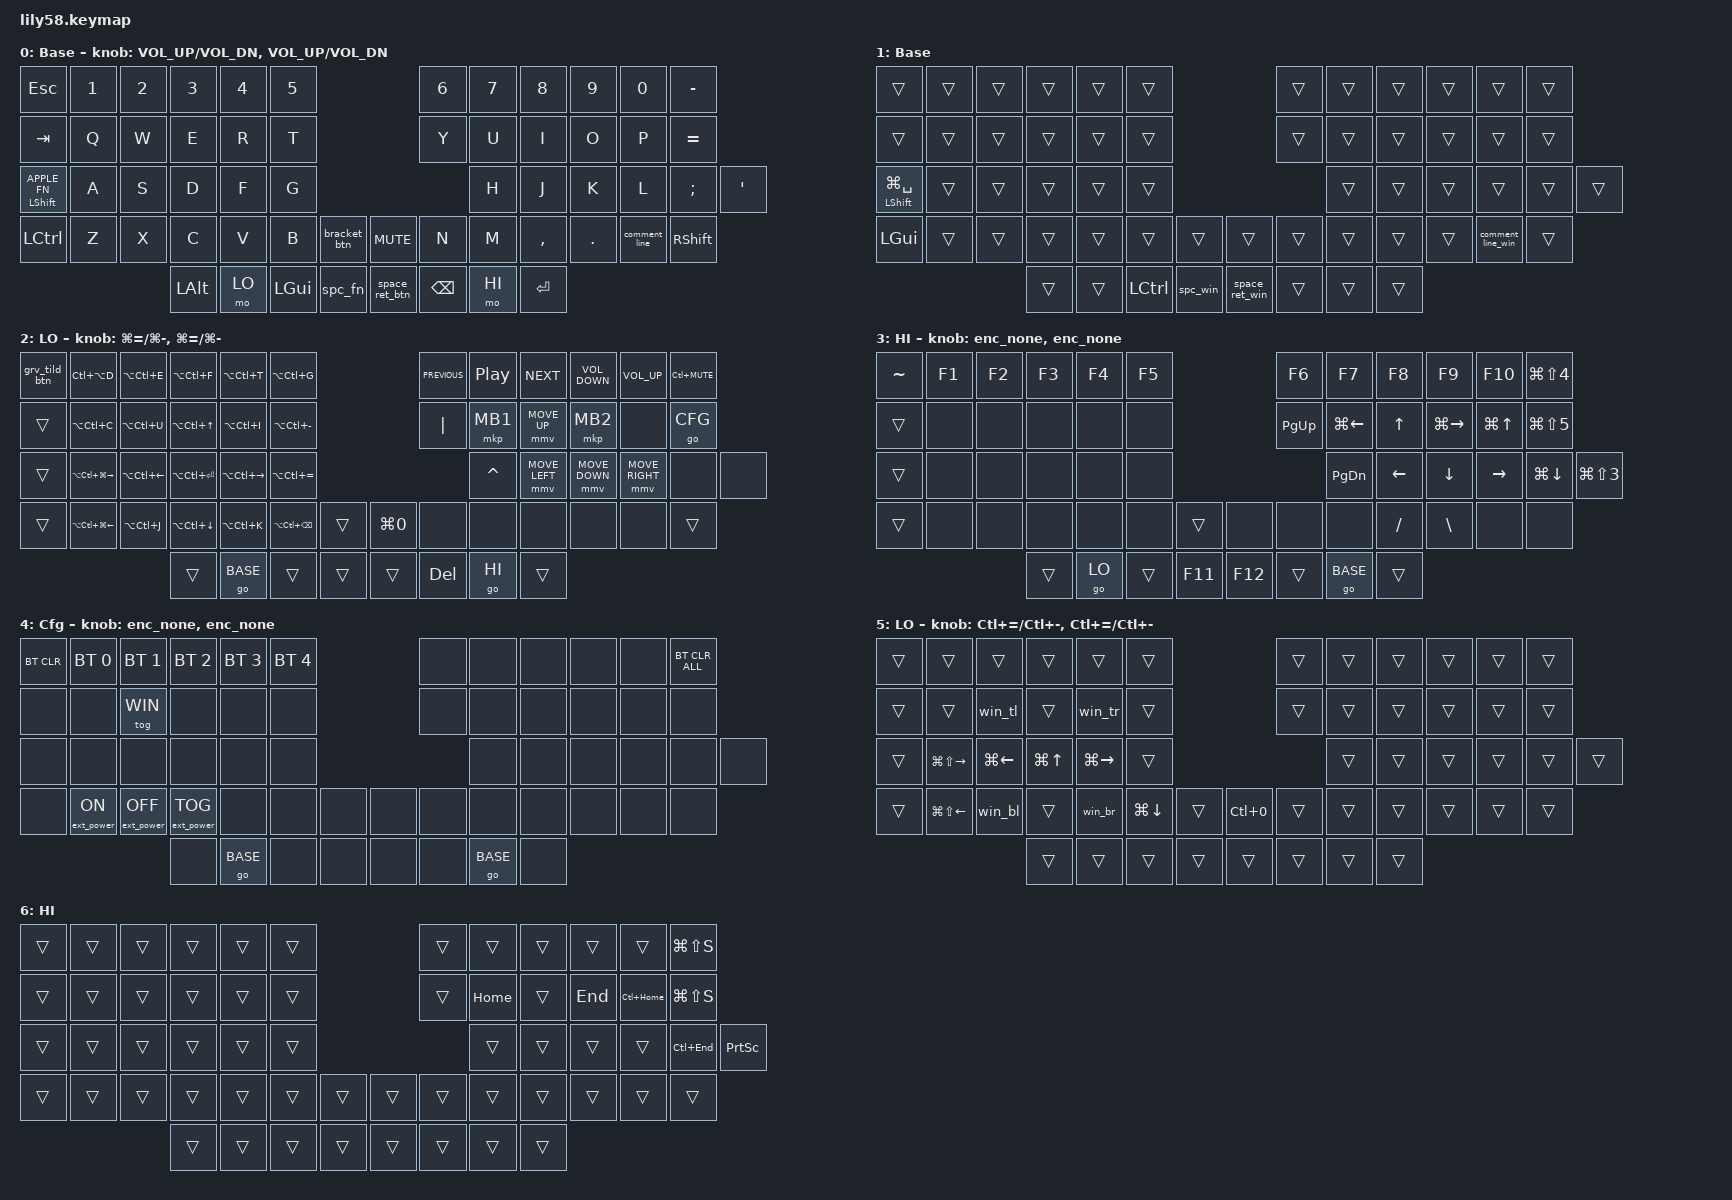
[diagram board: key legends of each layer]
/*
 * Copyright (c) 2022 The ZMK Contributors
 *
 * SPDX-License-Identifier: MIT
 */

#define ZMK_BEHAVIORS_OMIT_KT

#include <behaviors.dtsi>
#include <dt-bindings/zmk/bt.h>
#include <dt-bindings/zmk/ext_power.h>
#include <dt-bindings/zmk/keys.h>
#include <dt-bindings/zmk/pointing.h>

/*
 * Layers. WIN sits right above BASE so LO/HI/CFG fall through it; WLO/WHI are
 * conditional layers (active when WIN and LO/HI are both on) holding the
 * Windows replacements for macOS shortcuts. Keep WIN in sync with
 * CONFIG_LILLY_STATUS_SCREEN_WIN_LAYER (lily58.conf) for the screen icon.
 */
#define BASE 0
#define WIN  1
#define LO   2
#define HI   3
#define CFG  4
#define WLO  5
#define WHI  6

/ {
    behaviors {
        bracket_btn: bracket_btn {
            compatible = "zmk,behavior-tap-dance";
            #binding-cells = <0>;
            bindings = <&kp LEFT_BRACKET>, <&kp RIGHT_BRACKET>;
        };

        space_ret_btn: space_ret_btn {
            compatible = "zmk,behavior-tap-dance";
            #binding-cells = <0>;
            bindings = <&spc_fn>, <&kp RET>;
        };

        grv_tild_btn: grv_tild_btn {
            compatible = "zmk,behavior-tap-dance";
            #binding-cells = <0>;
            bindings = <&kp GRAVE>, <&kp TILDE>;
        };

        comment_line: comment_line {
            compatible = "zmk,behavior-tap-dance";
            #binding-cells = <0>;
            bindings = <&kp SLASH>, <&kp LG(SLASH)>;
        };

        // Space; Ctrl+Space sends native Apple Fn/Globe instead (switch input source).
        // Ctrl is masked so macOS sees a clean Fn press.
        spc_fn: spc_fn {
            compatible = "zmk,behavior-mod-morph";
            #binding-cells = <0>;
            bindings = <&kp SPACE>, <&kp APPLE_FN>;
            mods = <(MOD_LCTL|MOD_RCTL)>;
        };

        // --- Windows mode variants ---
        spc_win: spc_win {
            compatible = "zmk,behavior-mod-morph";
            #binding-cells = <0>;
            bindings = <&kp SPACE>, <&kp LG(SPACE)>;
            mods = <(MOD_LCTL|MOD_RCTL)>;
        };

        space_ret_win: space_ret_win {
            compatible = "zmk,behavior-tap-dance";
            #binding-cells = <0>;
            bindings = <&spc_win>, <&kp RET>;
        };

        comment_line_win: comment_line_win {
            compatible = "zmk,behavior-tap-dance";
            #binding-cells = <0>;
            bindings = <&kp SLASH>, <&kp LC(SLASH)>;
        };

        // Windows snap to a quarter: Win+Left/Right, then Win+Up/Down
        win_tl: win_tl {
            compatible = "zmk,behavior-macro";
            #binding-cells = <0>;
            wait-ms = <40>;
            tap-ms = <30>;
            bindings = <&macro_press &kp LGUI>, <&macro_tap &kp LEFT &kp UP>, <&macro_release &kp LGUI>;
        };
        win_tr: win_tr {
            compatible = "zmk,behavior-macro";
            #binding-cells = <0>;
            wait-ms = <40>;
            tap-ms = <30>;
            bindings = <&macro_press &kp LGUI>, <&macro_tap &kp RIGHT &kp UP>, <&macro_release &kp LGUI>;
        };
        win_bl: win_bl {
            compatible = "zmk,behavior-macro";
            #binding-cells = <0>;
            wait-ms = <40>;
            tap-ms = <30>;
            bindings = <&macro_press &kp LGUI>, <&macro_tap &kp LEFT &kp DOWN>, <&macro_release &kp LGUI>;
        };
        win_br: win_br {
            compatible = "zmk,behavior-macro";
            #binding-cells = <0>;
            wait-ms = <40>;
            tap-ms = <30>;
            bindings = <&macro_press &kp LGUI>, <&macro_tap &kp RIGHT &kp DOWN>, <&macro_release &kp LGUI>;
        };

        // Like &to, but non-locking: it leaves the WIN layer (toggled with the
        // locking &tog) alone, so Windows mode survives layer jumps.
        go: go_layer {
            compatible = "zmk,behavior-to-layer";
            #binding-cells = <1>;
        };

        // Encoder rotation that does nothing (blocks fall-through to lower layers)
        enc_none: enc_none {
            compatible = "zmk,behavior-sensor-rotate";
            #sensor-binding-cells = <0>;
            bindings = <&none>, <&none>;
        };
    };

    combos {
        compatible = "zmk,combos";

        // Both space keys together: soft-off (both halves). Any key press wakes up.
        soft_off_combo {
            bindings = <&soft_off>;
            key-positions = <53 54>;
        };
    };

    conditional_layers {
        compatible = "zmk,conditional-layers";
        win_lo {
            if-layers = <WIN LO>;
            then-layer = <WLO>;
        };
        win_hi {
            if-layers = <WIN HI>;
            then-layer = <WHI>;
        };
    };

    keymap {
        compatible = "zmk,keymap";

        default_layer {
            display-name = "Base";
            bindings = <
&kp ESC    &kp N1  &kp N2  &kp N3    &kp N4  &kp N5                                    &kp N6    &kp N7  &kp N8     &kp N9   &kp N0         &kp MINUS
&kp TAB    &kp Q   &kp W   &kp E     &kp R   &kp T                                     &kp Y     &kp U   &kp I      &kp O    &kp P          &kp EQUAL
&mt LSHFT APPLE_FN  &kp A   &kp S   &kp D     &kp F   &kp G                                     &kp H     &kp J   &kp K      &kp L    &kp SEMI       &kp SQT
&kp LCTRL  &kp Z   &kp X   &kp C     &kp V   &kp B     &bracket_btn    &kp C_MUTE      &kp N     &kp M   &kp COMMA  &kp DOT  &comment_line  &kp RSHFT
                           &kp LALT  &mo LO  &kp LGUI  &spc_fn          &space_ret_btn  &kp BSPC  &mo HI  &kp RET
            >;
            // sensor-bindings: <left encoder>  <right encoder>  (CW, CCW)
            sensor-bindings = <&inc_dec_kp C_VOL_UP C_VOL_DN  &inc_dec_kp C_VOL_UP C_VOL_DN>;
        };

        // Windows mode overlay on BASE: Cmd<->Ctrl swapped, language switch = Win+Space
        win_layer {
            display-name = "Base";
            bindings = <
&trans     &trans  &trans  &trans    &trans  &trans                                    &trans    &trans  &trans     &trans   &trans         &trans
&trans     &trans  &trans  &trans    &trans  &trans                                    &trans    &trans  &trans     &trans   &trans         &trans
&mt LSHFT LG(SPACE)  &trans  &trans  &trans    &trans  &trans                              &trans    &trans  &trans     &trans   &trans         &trans
&kp LGUI   &trans  &trans  &trans    &trans  &trans    &trans          &trans          &trans    &trans  &trans     &trans   &comment_line_win  &trans
                           &trans    &trans  &kp LCTRL &spc_win         &space_ret_win  &trans    &trans  &trans
            >;
        };

        lower_layer {
            display-name = "LO";
            bindings = <
&grv_tild_btn  &kp LC(LA(D))               &kp LA(LC(E))     &kp LA(LC(F))           &kp LA(LC(T))      &kp LA(LC(G))                            &kp C_PREVIOUS  &kp C_PLAY_PAUSE  &kp C_NEXT      &kp C_VOLUME_DOWN  &kp C_VOLUME_UP  &kp LC(K_MUTE)
&trans     &kp LA(LC(C))               &kp LA(LC(U))     &kp LA(LC(UP_ARROW))    &kp LA(LC(I))      &kp LA(LC(MINUS))                        &kp PIPE        &mkp MB1          &mmv MOVE_UP    &mkp MB2           &none            &go CFG
&trans     &kp LA(LC(LG(RIGHT)))       &kp LA(LC(LEFT))  &kp LA(LC(ENTER))       &kp LA(LC(RIGHT))  &kp LA(LC(EQUAL))                        &kp CARET       &mmv MOVE_LEFT    &mmv MOVE_DOWN  &mmv MOVE_RIGHT    &none            &none
&trans     &kp LA(LC(LG(LEFT_ARROW)))  &kp LA(LC(J))     &kp LA(LC(DOWN_ARROW))  &kp LA(LC(K))      &kp LA(LC(BACKSPACE))  &trans    &kp LG(N0)  &none           &none             &none           &none              &none            &trans
                                                         &trans                  &go BASE           &trans                 &trans    &trans  &kp DELETE      &go HI            &trans
            >;
            // sensor-bindings: <left encoder>  <right encoder>  (CW, CCW)
            sensor-bindings = <&inc_dec_kp LG(EQUAL) LG(MINUS)  &inc_dec_kp LG(EQUAL) LG(MINUS)>;
        };

        // macOS: Cmd+Left/Right = line start/end, Cmd+Up/Down = document start/end
        raise_layer {
            display-name = "HI";
            bindings = <
&kp TILDE  &kp F1  &kp F2  &kp F3  &kp F4  &kp F5                      &kp F6     &kp F7    &kp F8        &kp F9         &kp F10  &kp LG(LS(NUMBER_4))
&trans     &none   &none   &none   &none   &none                       &kp PG_UP  &kp LG(LEFT)  &kp UP_ARROW  &kp LG(RIGHT)  &kp LG(UP)    &kp LG(LS(N5))
&trans     &none   &none   &none   &none   &none                       &kp PG_DN  &kp LEFT      &kp DOWN      &kp RIGHT      &kp LG(DOWN)  &kp LG(LS(NUMBER_3))
&trans     &none   &none   &none   &none   &none   &trans     &none    &none      &none     &kp SLASH     &kp BACKSLASH  &none    &none
                           &trans  &go LO  &trans  &kp F11    &kp F12  &trans     &go BASE  &trans
            >;
            // sensor-bindings: <left encoder>  <right encoder>  (CW, CCW)
            sensor-bindings = <&enc_none  &enc_none>;
        };

        cfg_layer {
            display-name = "Cfg";
            bindings = <
&bt BT_CLR  &bt BT_SEL 0      &bt BT_SEL 1       &bt BT_SEL 2       &bt BT_SEL 3  &bt BT_SEL 4                  &none  &none  &none  &none  &none  &bt BT_CLR_ALL
&none       &none             &tog WIN           &none              &none         &none                         &none  &none  &none  &none  &none  &none
&none       &none             &none              &none              &none         &none                         &none  &none  &none  &none  &none  &none
&none       &ext_power EP_ON  &ext_power EP_OFF  &ext_power EP_TOG  &none         &none         &none    &none  &none  &none  &none  &none  &none  &none
                                                 &none              &go BASE      &none         &none    &none  &none  &go BASE  &none
            >;
            // sensor-bindings: <left encoder>  <right encoder>  (CW, CCW)
            sensor-bindings = <&enc_none  &enc_none>;
        };

        // Windows replacements on LO (active when WIN + LO): native snapping where it exists.
        // Thirds / center / top-bottom halves / smaller-larger keep Ctrl+Alt+... (bind them in
        // PowerToys FancyZones or similar).
        win_lower_layer {
            display-name = "LO";
            bindings = <
&trans  &trans                 &trans          &trans          &trans           &trans                                 &trans  &trans  &trans  &trans  &trans  &trans
&trans  &trans                 &win_tl         &trans          &win_tr          &trans                                 &trans  &trans  &trans  &trans  &trans  &trans
&trans  &kp LG(LS(RIGHT))      &kp LG(LEFT)    &kp LG(UP)      &kp LG(RIGHT)    &trans                                 &trans  &trans  &trans  &trans  &trans  &trans
&trans  &kp LG(LS(LEFT))       &win_bl         &trans          &win_br          &kp LG(DOWN)  &trans    &kp LC(N0)     &trans  &trans  &trans  &trans  &trans  &trans
                                               &trans          &trans           &trans        &trans    &trans  &trans  &trans  &trans
            >;
            // sensor-bindings: <left encoder>  <right encoder>  (CW, CCW)
            sensor-bindings = <&inc_dec_kp LC(EQUAL) LC(MINUS)  &inc_dec_kp LC(EQUAL) LC(MINUS)>;
        };

        // Windows replacements on HI (active when WIN + HI)
        win_raise_layer {
            display-name = "HI";
            bindings = <
&trans  &trans  &trans  &trans  &trans  &trans                      &trans  &trans        &trans  &trans        &trans         &kp LG(LS(S))
&trans  &trans  &trans  &trans  &trans  &trans                      &trans  &kp HOME      &trans  &kp END       &kp LC(HOME)   &kp LG(LS(S))
&trans  &trans  &trans  &trans  &trans  &trans                      &trans  &trans        &trans  &trans        &kp LC(END)    &kp PSCRN
&trans  &trans  &trans  &trans  &trans  &trans  &trans    &trans    &trans  &trans        &trans  &trans        &trans         &trans
                        &trans  &trans  &trans  &trans    &trans    &trans  &trans        &trans
            >;
        };
    };
};
